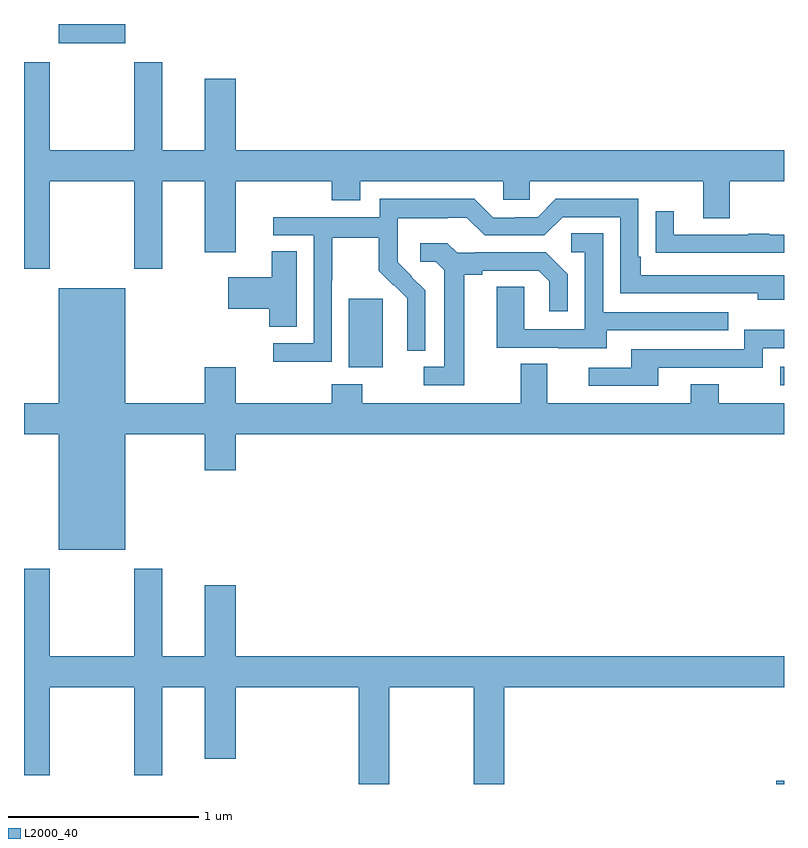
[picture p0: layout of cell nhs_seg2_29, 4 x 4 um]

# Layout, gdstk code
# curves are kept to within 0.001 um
import gdstk
lib = gdstk.Library(unit=1e-6, precision=1e-09)
def R(c, l, rs):  # rectangles x0, y0, x1, y1
    for r in rs: c.add(gdstk.rectangle(r[:2], r[2:], *l))
def P(c, l, *ps):  # polygons
    for p in ps: c.add(gdstk.Polygon(p, *l))
L2000_40 = (2000, 40)

nhs_seg2_29 = lib.new_cell('nhs_seg2_29')
R(nhs_seg2_29, L2000_40, [(114.96,641.8,115,641.816), (114.981,643.899,115,643.995), (112.709,643.994,112.888,644.355), (111.182,645.698,111.532,645.8)])
P(nhs_seg2_29, L2000_40, [(111.135,644.972),(111.58,644.972),(111.58,644.511),(111.727,644.511),(111.727,644.972),(111.95,644.972),(111.95,644.598),(112.114,644.598),(112.114,644.972),(112.619,644.972),(112.619,644.873),(112.771,644.873),(112.771,644.972),(113.523,644.972),(113.523,644.874),(113.661,644.874),(113.661,644.972),(114.575,644.972),(114.575,644.778),(114.715,644.778),(114.715,644.972),(115,644.972),(115,645.136),(112.114,645.136),(112.114,645.511),(111.95,645.511),(111.95,645.136),(111.727,645.136),(111.727,645.598),(111.58,645.598),(111.58,645.136),(111.135,645.136),(111.135,645.598),(111,645.598),(111,644.511),(111.135,644.511)],
  [(112.62,644.452),(112.623,644.452),(112.623,644.676),(112.867,644.676),(112.867,644.501),(112.944,644.424),(112.947,644.427),(113.018,644.357),(113.018,644.234),(113.016,644.234),(113.016,644.08),(113.112,644.08),(113.112,644.398),(112.966,644.546),(112.966,644.643),(112.968,644.643),(112.968,644.777),(113.231,644.777),(113.231,644.781),(113.331,644.781),(113.424,644.688),(113.739,644.688),(113.835,644.784),(114.138,644.784),(114.138,644.382),(114.863,644.382),(114.863,644.348),(115,644.348),(115,644.478),(114.247,644.478),(114.247,644.575),(114.234,644.575),(114.234,644.88),(113.799,644.88),(113.703,644.784),(113.585,644.784),(113.585,644.781),(113.469,644.781),(113.369,644.881),(112.872,644.881),(112.872,644.784),(112.311,644.784),(112.311,644.688),(112.524,644.688),(112.524,644.121),(112.311,644.121),(112.311,644.023),(112.62,644.023)],
  [(115,644.691),(114.923,644.691),(114.923,644.696),(114.811,644.696),(114.811,644.691),(114.421,644.691),(114.421,644.815),(114.325,644.815),(114.325,644.596),(114.427,644.596),(114.427,644.595),(115,644.595)],
  [(114.067,644.187),(114.707,644.187),(114.707,644.283),(114.048,644.283),(114.048,644.699),(113.88,644.699),(113.88,644.598),(113.952,644.598),(113.952,644.193),(113.634,644.193),(113.634,644.417),(113.489,644.417),(113.489,644.097),(113.813,644.097),(113.813,644.093),(114.067,644.093)],
  [(113.317,644.48),(113.413,644.48),(113.413,644.502),(113.708,644.502),(113.765,644.445),(113.765,644.289),(113.862,644.289),(113.862,644.482),(113.746,644.598),(113.374,644.598),(113.374,644.595),(113.28,644.595),(113.228,644.647),(113.085,644.647),(113.085,644.55),(113.166,644.55),(113.213,644.503),(113.213,643.995),(113.103,643.995),(113.103,643.899),(113.317,643.899)],
  [(112.435,644.603),(112.304,644.603),(112.304,644.467),(112.074,644.467),(112.074,644.302),(112.292,644.302),(112.292,644.206),(112.435,644.206)],
  [(111.532,643.64),(111.95,643.64),(111.95,643.452),(112.114,643.452),(112.114,643.64),(115,643.64),(115,643.804),(114.657,643.804),(114.657,643.903),(114.509,643.903),(114.509,643.804),(113.755,643.804),(113.755,644.012),(113.615,644.012),(113.615,643.804),(112.779,643.804),(112.779,643.903),(112.619,643.903),(112.619,643.804),(112.114,643.804),(112.114,643.993),(111.95,643.993),(111.95,643.804),(111.532,643.804),(111.532,644.41),(111.182,644.41),(111.182,643.804),(111,643.804),(111,643.64),(111.182,643.64),(111.182,643.034),(111.532,643.034)],
  [(114.337,643.992),(114.888,643.992),(114.888,644.094),(115,644.094),(115,644.191),(114.792,644.191),(114.792,644.088),(114.197,644.088),(114.197,643.992),(113.973,643.992),(113.973,643.896),(114.337,643.896)],
  [(112.923,642.308),(113.368,642.308),(113.368,641.8),(113.528,641.8),(113.528,642.308),(115,642.308),(115,642.472),(112.114,642.472),(112.114,642.847),(111.95,642.847),(111.95,642.472),(111.727,642.472),(111.727,642.934),(111.58,642.934),(111.58,642.472),(111.135,642.472),(111.135,642.934),(111,642.934),(111,641.847),(111.135,641.847),(111.135,642.308),(111.58,642.308),(111.58,641.847),(111.727,641.847),(111.727,642.308),(111.95,642.308),(111.95,641.934),(112.114,641.934),(112.114,642.308),(112.763,642.308),(112.763,641.8),(112.923,641.8)])

lib.write_gds('nhs_seg2_29.gds')
